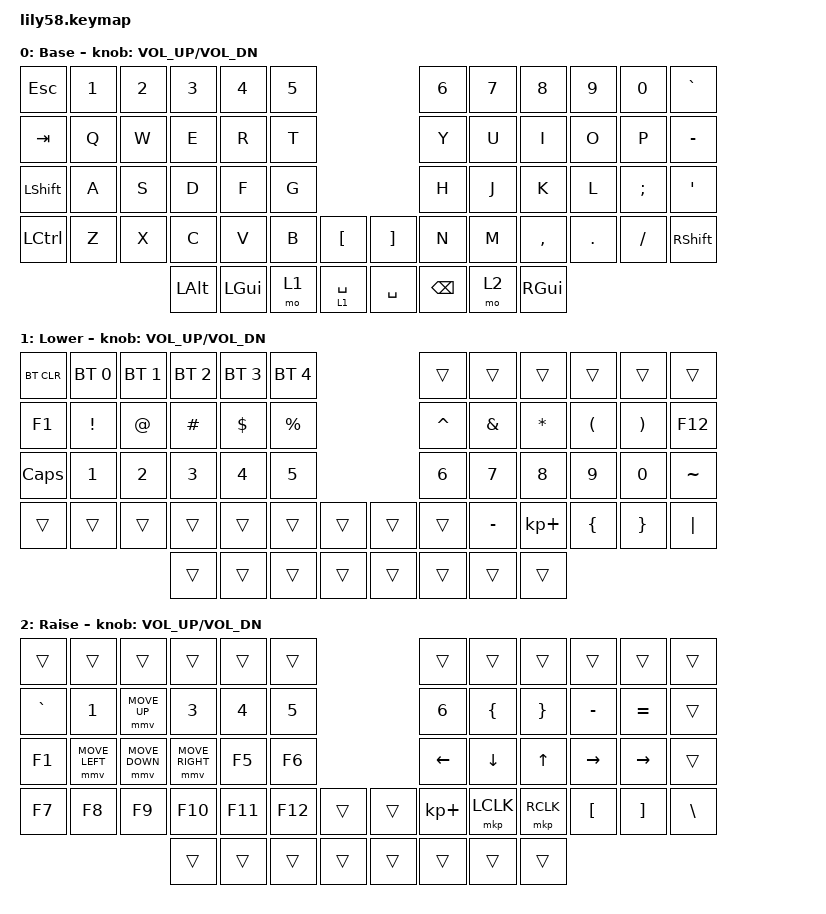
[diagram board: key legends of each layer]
/*
 * Copyright (c) 2020 The ZMK Contributors
 *
 * SPDX-License-Identifier: MIT
 */

#include <behaviors.dtsi>
#include <dt-bindings/zmk/bt.h>
#include <dt-bindings/zmk/keys.h>
#include <dt-bindings/zmk/pointing.h>

&mt {
    tapping-term-ms = <250>;
    quick-tap-ms = <0>;
    require-prior-idle-ms = <0>;
    flavor = "hold-preferred";
};

/ {
    keymap {
        compatible = "zmk,keymap";

        default_layer {
            // ------------------------------------------------------------------------------------------------------------
            // |  ESC  |  1  |  2  |  3   |  4   |  5   |                   |  6   |  7    |  8    |  9   |   0   |   `   |
            // |  TAB  |  Q  |  W  |  E   |  R   |  T   |                   |  Y   |  U    |  I    |  O   |   P   |   -   |
            // |  CTRL |  A  |  S  |  D   |  F   |  G   |                   |  H   |  J    |  K    |  L   |   ;   |   '   |
            // | SHIFT |  Z  |  X  |  C   |  V   |  B   |   "["  |  |  "]"  |  N   |  M    |  ,    |  .   |   /   | SHIFT |
            //                     | ALT  | GUI  | LOWER|  SPACE |  | ENTER | RAISE| BSPC  | GUI   |

            display-name = "Base";
            bindings = <
&kp ESC         &kp N1  &kp N2  &kp N3    &kp N4    &kp N5                            &kp N6         &kp N7  &kp N8     &kp N9   &kp N0    &kp GRAVE
&kp TAB         &kp Q   &kp W   &kp E     &kp R     &kp T                             &kp Y          &kp U   &kp I      &kp O    &kp P     &kp MINUS
&kp LEFT_SHIFT  &kp A   &kp S   &kp D     &kp F     &kp G                             &kp H          &kp J   &kp K      &kp L    &kp SEMI  &kp SQT
&kp LCTRL       &kp Z   &kp X   &kp C     &kp V     &kp B   &kp LBKT       &kp RBKT   &kp N          &kp M   &kp COMMA  &kp DOT  &kp FSLH  &kp RSHFT
                                &kp LALT  &kp LGUI  &mo 1   &lt 1 SPACE    &kp SPACE  &kp BACKSPACE  &mo 2   &kp RGUI
            >;

            sensor-bindings = <&inc_dec_kp C_VOL_UP C_VOL_DN>;
        };

        lower_layer {
            // ------------------------------------------------------------------------------------------------------------
            // | BTCLR | BT1 | BT2 |  BT3 |  BT4 |  BT5 |                   |      |       |       |      |       |       |
            // |  F1   |  F2 |  F3 |  F4  |  F5  |  F6  |                   |  F7  |  F8   |  F9   |  F10 |  F11  |  F12  |
            // |   `   |  !  |  @  |  #   |  $   |  %   |                   |  ^   |  &    |  *    |  (   |   )   |   ~   |
            // |       |     |     |      |      |      |        |  |       |      |  _    |  +    |  {   |   }   |  "|"  |
            //                     |      |      |      |        |  |       |      |       |       |

            display-name = "Lower";
            bindings = <
&bt BT_CLR    &bt BT_SEL 0  &bt BT_SEL 1  &bt BT_SEL 2  &bt BT_SEL 3  &bt BT_SEL 4                    &trans        &trans         &trans        &trans                &trans                 &trans
&kp F1        &kp EXCL      &kp AT_SIGN   &kp HASH      &kp DOLLAR    &kp PERCENT                     &kp CARET     &kp AMPERSAND  &kp ASTERISK  &kp LEFT_PARENTHESIS  &kp RIGHT_PARENTHESIS  &kp F12
&kp CAPSLOCK  &kp NUMBER_1  &kp NUMBER_2  &kp NUMBER_3  &kp NUMBER_4  &kp N5                          &kp NUMBER_6  &kp N7         &kp N8        &kp N9                &kp N0                 &kp TILDE
&trans        &trans        &trans        &trans        &trans        &trans        &trans    &trans  &trans        &kp MINUS      &kp KP_PLUS   &kp LBRC              &kp RBRC               &kp PIPE
                                          &trans        &trans        &trans        &trans    &trans  &trans        &trans         &trans
            >;

            sensor-bindings = <&inc_dec_kp C_VOL_UP C_VOL_DN>;
        };

        raise_layer {
            // ------------------------------------------------------------------------------------------------------------
            // |       |     |     |      |      |      |                   |      |       |       |      |       |       |
            // |   `   |  1  |  2  |  3   |  4   |  5   |                   |  6   |   7   |   8   |  9   |   0   |       |
            // |   F1  |  F2 |  F3 |  F4  |  F5  |  F6  |                   |      |   <-  |   v   |  ^   |  ->   |       |
            // |   F7  |  F8 |  F9 |  F10 |  F11 |  F12 |        |  |       |  +   |   -   |   =   |  [   |   ]   |   \   |
            //                     |      |      |      |        |  |       |      |       |       |

            display-name = "Raise";
            bindings = <
&trans     &trans          &trans          &trans           &trans   &trans                     &trans       &trans          &trans           &trans     &trans     &trans
&kp GRAVE  &kp N1          &mmv MOVE_UP    &kp N3           &kp N4   &kp N5                     &kp N6       &kp LEFT_BRACE  &kp RIGHT_BRACE  &kp MINUS  &kp EQUAL  &trans
&kp F1     &mmv MOVE_LEFT  &mmv MOVE_DOWN  &mmv MOVE_RIGHT  &kp F5   &kp F6                     &kp LEFT     &kp DOWN        &kp UP_ARROW     &kp RIGHT  &kp RIGHT  &trans
&kp F7     &kp F8          &kp F9          &kp F10          &kp F11  &kp F12  &trans    &trans  &kp KP_PLUS  &mkp LCLK       &mkp RCLK        &kp LBKT   &kp RBKT   &kp BSLH
                                           &trans           &trans   &trans   &trans    &trans  &trans       &trans          &trans
            >;

            sensor-bindings = <&inc_dec_kp C_VOL_UP C_VOL_DN>;
        };

        extra_1 { status = "reserved"; };

        extra_2 { status = "reserved"; };

        extra_3 { status = "reserved"; };
    };
};
